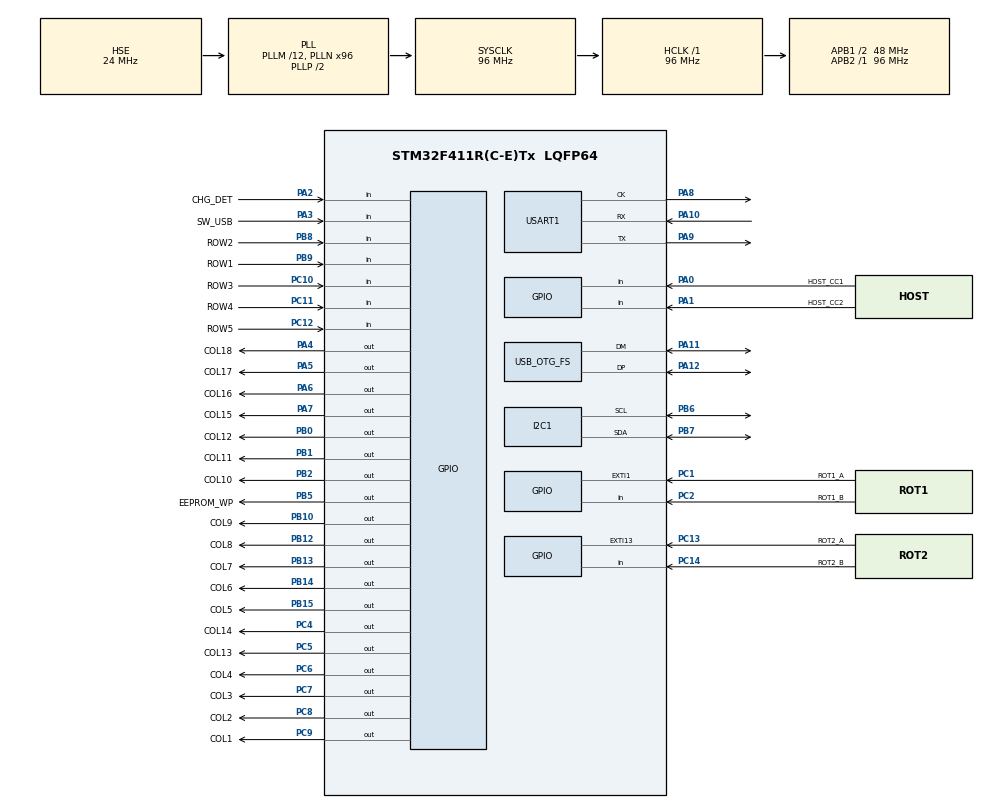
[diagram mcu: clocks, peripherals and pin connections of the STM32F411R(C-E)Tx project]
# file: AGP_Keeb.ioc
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I2C1.I2C_Mode=I2C_Fast
Mcu.Family=STM32F4
Mcu.Name=STM32F411R(C-E)Tx
Mcu.Package=LQFP64
NVIC.EXTI15_10_IRQn=true\:0\:0\:false\:false\:true\:true\:true\:true
NVIC.EXTI1_IRQn=true\:0\:0\:false\:false\:true\:true\:true\:true
NVIC.OTG_FS_IRQn=true\:0\:0\:false\:false\:true\:false\:true\:true
NVIC.PriorityGroup=NVIC_PRIORITYGROUP_4
NVIC.TIM1_UP_TIM10_IRQn=true\:15\:0\:false\:false\:true\:false\:true\:true
NVIC.TimeBase=TIM1_UP_TIM10_IRQn
NVIC.TimeBaseIP=TIM1
PA0-WKUP.GPIO_Label=HOST_CC1
PA0-WKUP.Signal=GPIO_Input
PA1.GPIO_Label=HOST_CC2
PA1.Signal=GPIO_Input
PA10.Mode=Synchronous
PA10.Signal=USART1_RX
PA11.Mode=Device_Only
PA11.Signal=USB_OTG_FS_DM
PA12.Mode=Device_Only
PA12.Signal=USB_OTG_FS_DP
PA13.Mode=JTAG_5_pins
PA13.Signal=SYS_JTMS-SWDIO
PA14.Mode=JTAG_5_pins
PA14.Signal=SYS_JTCK-SWCLK
PA15.Mode=JTAG_5_pins
PA15.Signal=SYS_JTDI
PA2.GPIO_Label=CHG_DET
PA2.Signal=GPIO_Input
PA3.GPIO_Label=SW_USB
PA3.Signal=GPIO_Input
PA4.GPIO_Label=COL18
PA4.Signal=GPIO_Output
PA5.GPIO_Label=COL17
PA5.Signal=GPIO_Output
PA6.GPIO_Label=COL16
PA6.Signal=GPIO_Output
PA7.GPIO_Label=COL15
PA7.Signal=GPIO_Output
PA8.Mode=Synchronous
PA8.Signal=USART1_CK
PA9.Mode=Synchronous
PA9.Signal=USART1_TX
PB0.GPIO_Label=COL12
PB0.Signal=GPIO_Output
PB1.GPIO_Label=COL11
PB1.Signal=GPIO_Output
PB10.GPIO_Label=COL9
PB10.Signal=GPIO_Output
PB12.GPIO_Label=COL8
PB12.Signal=GPIO_Output
PB13.GPIO_Label=COL7
PB13.Signal=GPIO_Output
PB14.GPIO_Label=COL6
PB14.Signal=GPIO_Output
PB15.GPIO_Label=COL5
PB15.Signal=GPIO_Output
PB2.GPIO_Label=COL10
PB2.Signal=GPIO_Output
PB3.Mode=JTAG_5_pins
PB3.Signal=SYS_JTDO-SWO
PB4.Mode=JTAG_5_pins
PB4.Signal=SYS_JTRST
PB5.GPIO_Label=EEPROM_WP
PB5.Signal=GPIO_Output
PB6.Mode=I2C
PB6.Signal=I2C1_SCL
PB7.Mode=I2C
PB7.Signal=I2C1_SDA
PB8.GPIO_Label=ROW2
PB8.GPIO_PuPd=GPIO_PULLDOWN
PB8.Signal=GPIO_Input
PB9.GPIO_Label=ROW1
PB9.GPIO_PuPd=GPIO_PULLDOWN
PB9.Signal=GPIO_Input
PC1.GPIO_Label=ROT1_A
PC1.GPIO_ModeDefaultEXTI=GPIO_MODE_IT_RISING_FALLING
PC1.GPIO_PuPd=GPIO_PULLUP
PC1.Signal=GPXTI1
PC10.GPIO_Label=ROW3
PC10.GPIO_PuPd=GPIO_PULLDOWN
PC10.Signal=GPIO_Input
PC11.GPIO_Label=ROW4
PC11.GPIO_PuPd=GPIO_PULLDOWN
PC11.Signal=GPIO_Input
PC12.GPIO_Label=ROW5
PC12.GPIO_PuPd=GPIO_PULLDOWN
PC12.Signal=GPIO_Input
PC13-ANTI_TAMP.GPIO_Label=ROT2_A
PC13-ANTI_TAMP.GPIO_ModeDefaultEXTI=GPIO_MODE_IT_RISING_FALLING
PC13-ANTI_TAMP.GPIO_PuPd=GPIO_PULLUP
PC13-ANTI_TAMP.Signal=GPXTI13
PC14-OSC32_IN.GPIO_Label=ROT2_B
PC14-OSC32_IN.GPIO_PuPd=GPIO_PULLUP
PC14-OSC32_IN.Signal=GPIO_Input
PC2.GPIO_Label=ROT1_B
PC2.GPIO_PuPd=GPIO_PULLUP
PC2.Signal=GPIO_Input
PC4.GPIO_Label=COL14
PC4.Signal=GPIO_Output
PC5.GPIO_Label=COL13
PC5.Signal=GPIO_Output
PC6.GPIO_Label=COL4
PC6.Signal=GPIO_Output
PC7.GPIO_Label=COL3
PC7.Signal=GPIO_Output
PC8.GPIO_Label=COL2
PC8.Signal=GPIO_Output
PC9.GPIO_Label=COL1
PC9.Signal=GPIO_Output
PH0\ -\ OSC_IN.Mode=HSE-External-Oscillator
PH0\ -\ OSC_IN.Signal=RCC_OSC_IN
PH1\ -\ OSC_OUT.Mode=HSE-External-Oscillator
PH1\ -\ OSC_OUT.Signal=RCC_OSC_OUT
ProjectManager.HeapSize=0x200
ProjectManager.StackSize=0x400
ProjectManager.TargetToolchain=STM32CubeIDE
RCC.48MHZClocksFreq_Value=48000000
RCC.AHBFreq_Value=96000000
RCC.APB1CLKDivider=RCC_HCLK_DIV2
RCC.APB1Freq_Value=48000000
RCC.APB1TimFreq_Value=96000000
RCC.APB2Freq_Value=96000000
RCC.APB2TimFreq_Value=96000000
RCC.CortexFreq_Value=96000000
RCC.HCLKFreq_Value=96000000
RCC.HSE_VALUE=24000000
RCC.HSI_VALUE=16000000
RCC.LSE_VALUE=32768
RCC.PLLI2SR=3
RCC.PLLM=12
RCC.PLLN=96
RCC.RCC_RTC_Clock_Source=RCC_RTCCLKSOURCE_LSI
RCC.RCC_RTC_Clock_SourceVirtual=RCC_RTCCLKSOURCE_LSI
RCC.SYSCLKFreq_VALUE=96000000
RCC.SYSCLKSource=RCC_SYSCLKSOURCE_PLLCLK
RCC.VCOOutputFreq_Value=192000000
USART1.VirtualMode=VM_SYNC
USB_DEVICE.CLASS_NAME_FS=CDC
USB_DEVICE.PRODUCT_STRING_CDC_FS=STM32 Virtual AGPKeeb DebugPort
USB_DEVICE.VirtualMode=Cdc
USB_DEVICE.VirtualModeFS=Cdc_FS
USB_OTG_FS.VirtualMode=Device_Only
VP_SYS_VS_tim1.Mode=TIM1
VP_USB_DEVICE_VS_USB_DEVICE_CDC_FS.Mode=CDC_FS
board=custom

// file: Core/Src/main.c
/* USER CODE BEGIN Header */
/**
  ******************************************************************************
  * @file           : main.c
  * @brief          : Main program body
  ******************************************************************************
  * @attention
  *
  * Copyright (c) 2023 STMicroelectronics.
  * All rights reserved.
  *
  * This software is licensed under terms that can be found in the LICENSE file
  * in the root directory of this software component.
  * If no LICENSE file comes with this software, it is provided AS-IS.
  *
  ******************************************************************************
  */
/* USER CODE END Header */
#include "main.h"
#include "i2c.h"
#include "usart.h"
#include "usb_device.h"
#include "gpio.h"

/* USER CODE BEGIN Includes */
#include "is31fl3741.h"
#include "usbd_cdc_if.h"
#include "string.h"

/* USER CODE END Includes */

/* USER CODE BEGIN PV */
#define BYTE_TO_BINARY_PATTERN "%c%c%c%c%c%c%c%c"
#define BYTE_TO_BINARY(byte)  \
  ((byte) & 0x80 ? '1' : '0'), \
  ((byte) & 0x40 ? '1' : '0'), \
  ((byte) & 0x20 ? '1' : '0'), \
  ((byte) & 0x10 ? '1' : '0'), \
  ((byte) & 0x08 ? '1' : '0'), \
  ((byte) & 0x04 ? '1' : '0'), \
  ((byte) & 0x02 ? '1' : '0'), \
  ((byte) & 0x01 ? '1' : '0')

const uint8_t PWM_Gamma64Length = 64;
const uint8_t PWM_Gamma64[64] =
{
    0x00,0x01,0x02,0x03,0x04,0x05,0x06,0x07,
    0x08,0x09,0x0b,0x0d,0x0f,0x11,0x13,0x16,
    0x1a,0x1c,0x1d,0x1f,0x22,0x25,0x28,0x2e,
    0x34,0x38,0x3c,0x40,0x44,0x48,0x4b,0x4f,
    0x55,0x5a,0x5f,0x64,0x69,0x6d,0x72,0x77,
    0x7d,0x80,0x88,0x8d,0x94,0x9a,0xa0,0xa7,
    0xac,0xb0,0xb9,0xbf,0xc6,0xcb,0xcf,0xd6,
    0xe1,0xe9,0xed,0xf1,0xf6,0xfa,0xfe,0xff
};

const uint16_t ISSI1_LED_REGLength = IS31FL3741_FULL_SIZE;
uint8_t ISSI1_LED_REG[IS31FL3741_FULL_SIZE] = { 0 };

const uint16_t ISSI2_LED_REGLength = IS31FL3741_FULL_SIZE;
uint8_t ISSI2_LED_REG[IS31FL3741_FULL_SIZE] = { 0 };

uint8_t ISSI_DEFAULT_PWM = 0x03;
uint8_t ISSI_DEFAULT_SCALE = 0xA0;

IS31FL3741_LED led;
IS31FL3741_ADDR d1_addr;

int8_t rot1 = 0;
int8_t rot2 = 0;

int8_t active_row = 0;
const uint8_t NUM_OF_ROWS = 5;
uint16_t ROW_PINS[5] = {
    ROW1_Pin,
    ROW2_Pin,
    ROW3_Pin,
    ROW4_Pin,
    ROW5_Pin
};

GPIO_TypeDef *ROW_PORTS[5] = {
    ROW1_GPIO_Port,
    ROW2_GPIO_Port,
    ROW3_GPIO_Port,
    ROW4_GPIO_Port,
    ROW5_GPIO_Port
};

const uint8_t NUM_OF_COLS = 18;
uint16_t COL_PINS[18] = {
    COL1_Pin,
    COL2_Pin,
    COL3_Pin,
    COL4_Pin,
    COL5_Pin,
    COL6_Pin,
    COL7_Pin,
    COL8_Pin,
    COL9_Pin,
    COL10_Pin,
    COL11_Pin,
    COL12_Pin,
    COL13_Pin,
    COL14_Pin,
    COL15_Pin,
    COL16_Pin,
    COL17_Pin,
    COL18_Pin
};

GPIO_TypeDef *COL_PORTS[18] = {
    COL1_GPIO_Port,
    COL2_GPIO_Port,
    COL3_GPIO_Port,
    COL4_GPIO_Port,
    COL5_GPIO_Port,
    COL6_GPIO_Port,
    COL7_GPIO_Port,
    COL8_GPIO_Port,
    COL9_GPIO_Port,
    COL10_GPIO_Port,
    COL11_GPIO_Port,
    COL12_GPIO_Port,
    COL13_GPIO_Port,
    COL14_GPIO_Port,
    COL15_GPIO_Port,
    COL16_GPIO_Port,
    COL17_GPIO_Port,
    COL18_GPIO_Port
};

char keys[5][18] = {
        "E1234567890-=BDFFR",
        "Tqwertyuiop[]BIFFR",
        "Casdfghjkl;'EEFF",
        "Szxcvbnm,./SAFFF",
        "CWASKAWLDRFF"
};

// represents the entire matrix, each row is a single 32bit int each bit represents one col
uint8_t active_keys[5][18] = { 0 };

/* USER CODE END PV */

void SystemClock_Config(void);
/* USER CODE BEGIN PFP */
uint8_t One_By_One_LED_Mode(uint8_t address, char *msgBuffer);

void Scale_ISSI1_LEDs( uint8_t *reg );
void Scale_ISSI2_LEDs( uint8_t *reg );
/* USER CODE END PFP */

/* USER CODE BEGIN 0 */
void HAL_GPIO_EXTI_Callback(uint16_t GPIO_Pin) {
    // double detents per pulse so we need to keep track of raising AND falling edges
    if ( GPIO_Pin == ROT1_A_Pin ) {
        GPIO_PinState A_State = HAL_GPIO_ReadPin(ROT1_A_GPIO_Port, ROT1_A_Pin);
        GPIO_PinState B_State = HAL_GPIO_ReadPin(ROT1_B_GPIO_Port, ROT1_B_Pin);

        if ( A_State == B_State ) {
            rot1--;
        } else {
            rot1++;
        }

        if ( rot1 < 0 ) rot1 = 0;
        else if ( rot1 > 64 ) rot1 = 64;
    } else if ( GPIO_Pin == ROT2_A_Pin ) {
        GPIO_PinState A_State = HAL_GPIO_ReadPin(ROT2_A_GPIO_Port, ROT2_A_Pin);
        GPIO_PinState B_State = HAL_GPIO_ReadPin(ROT2_B_GPIO_Port, ROT2_B_Pin);

        if ( A_State == B_State ) {
            rot2--;
        } else {
            rot2++;
        }

        if ( rot2 < 0 ) rot2 = 0;
        else if ( rot2 > 64 ) rot2 = 64;
    }
}

void Scale_ISSI1_LEDs( uint8_t *reg ){
    uint8_t fullOnRange = (uint8_t) (IS31FL3741_REG_PG0_SIZE + 0x60);
    for ( uint8_t i = 0; i < fullOnRange; i++ ){
        reg[i] = ISSI_DEFAULT_SCALE;
    }

    // except CS25-27, SW2
    // which is 1E offset (SW2) + 24 (0x18)
    uint8_t offset = 0x1E + 0x18;
    reg[ offset ]       = 0x00;
    reg[ offset + 1 ]   = 0x00;
    reg[ offset + 2 ]   = 0x00;

    // add underglow
    uint8_t upperOffset = fullOnRange;
    uint8_t swSteps = 0x09;
    for ( uint8_t i = upperOffset+3; i+2 < IS31FL3741_FULL_SIZE; i += swSteps ) {
        reg[i]   = ISSI_DEFAULT_SCALE;
        reg[i+1] = ISSI_DEFAULT_SCALE;
        reg[i+2] = ISSI_DEFAULT_SCALE;
    }

    // activate window
    // CS31-33 SW3,6,7,8
    // SW3 + 18, SW6 + 0x2D
    reg[ fullOnRange+18 ]    = ISSI_DEFAULT_SCALE;
    reg[ fullOnRange+18+1 ]  = ISSI_DEFAULT_SCALE;
    reg[ fullOnRange+18+2 ]  = ISSI_DEFAULT_SCALE;

    for ( uint8_t i = upperOffset + 0x2D; i + 2 < fullOnRange + 0x48; i += swSteps ) {
        reg[i]   = ISSI_DEFAULT_SCALE;
        reg[i+1] = ISSI_DEFAULT_SCALE;
        reg[i+2] = ISSI_DEFAULT_SCALE;
    }
}

void Scale_ISSI2_LEDs( uint8_t *reg ){
    for ( uint8_t i = 0; i <= 0xB4 + 0x3D; i += 0x1E ) {
        for ( uint8_t j = 0; j < 21; j++ ) {
            reg[ i+j ] = ISSI_DEFAULT_SCALE;
        }
    }

    // except CS19-21, SW2
    // which is 1E offset (SW2) + 18 (0x12)
    reg[ 0x1E + 0x12 ]      = 0x00;
    reg[ 0x1E + 0x12 + 1 ]  = 0x00;
    reg[ 0x1E + 0x12 + 2 ]  = 0x00;

    // CS34-39 SW1-9
    // add underglow
    uint8_t upperOffset = (uint8_t) (IS31FL3741_REG_PG0_SIZE + 0x60);
    uint8_t swSteps = 0x09;
    for ( uint8_t i = upperOffset + 3; i+5 <= IS31FL3741_FULL_SIZE; i += swSteps ) {
        for ( uint8_t j = 0; j < 6; j++ ) {
            reg[i]   = ISSI_DEFAULT_SCALE;
        }
    }
}

uint8_t One_By_One_LED_Mode(uint8_t address, char *msgBuffer) {
    if ( IS31FL3741_SetLED( &led, address ) != HAL_OK ) {
        sprintf(msgBuffer, "Unable to light up LED 0x%02X on page 0x%02X.\r\n", d1_addr.addr, d1_addr.page);
        CDC_Transmit_FS((uint8_t *) msgBuffer, strlen(msgBuffer));
    }

    HAL_Delay(500);

    led.value[0] = 0x00;
    led.value[1] = 0x00;
    led.value[2] = 0x00;

    if ( IS31FL3741_SetLED( &led, address ) != HAL_OK ) {
        sprintf(msgBuffer, "Unable to turn off LED 0x%02X on page 0x%02X.\r\n", d1_addr.addr, d1_addr.page);
        CDC_Transmit_FS((uint8_t *) msgBuffer, strlen(msgBuffer));
    }

    d1_addr.addr = d1_addr.addr + 3;
    if ( d1_addr.page == 0 && d1_addr.addr >= IS31FL3741_REG_PG0_SIZE ) {
        d1_addr.page = 0x01;
        d1_addr.addr = 0x00;
    } else if ( d1_addr.page == 1 && d1_addr.addr >= IS31FL3741_REG_PG1_SIZE ) {
        d1_addr.page = 0x00;
        d1_addr.addr = 0x00;
        if ( address == IS31FL3741_I2C_ADDR_1 )
            address = IS31FL3741_I2C_ADDR_2;
        else
            address = IS31FL3741_I2C_ADDR_1;
    }

    led.value[0] = 0xFF;
    led.value[1] = 0xFF;
    led.value[2] = 0xFF;

    if ( IS31FL3741_SetLED( &led, address ) != HAL_OK ) {
        sprintf(msgBuffer, "Unable to light up LED 0x%02X on page 0x%02X.\r\n", d1_addr.addr, d1_addr.page);
        CDC_Transmit_FS((uint8_t *) msgBuffer, strlen(msgBuffer));
    }

    return address;
}

/* USER CODE END 0 */

int main(void)
{

  /* MCU Configuration--------------------------------------------------------*/

  /* Reset of all peripherals, Initializes the Flash interface and the Systick. */
  HAL_Init();

  /* Configure the system clock */
  SystemClock_Config();

  /* Initialize all configured peripherals */
  MX_GPIO_Init();
  MX_I2C1_Init();
  MX_USART1_Init();
  MX_USB_DEVICE_Init();
  /* USER CODE BEGIN 2 */

  led.i2cHandle = &hi2c1;
  led.setting = PWM;
  led.addr = &d1_addr;
  led.value[0] = 0xFF;
  led.value[1] = 0xFF;
  led.value[2] = 0xFF;

  d1_addr.page = 0x00;
  d1_addr.addr = 0x00;

    HAL_Delay(5000);
    char msgBuffer[256];
    uint8_t id[3];

    // testing ISSI-1 by reading its I2C address from memory
    if( IS31FL3741_ReadID( &hi2c1, IS31FL3741_I2C_ADDR_1, id ) != HAL_OK ) {
        sprintf(msgBuffer, "Error during transmitting I2C data to ISSI-1\r\n");
    } else if ( id[0] != IS31FL3741_I2C_ADDR_1 ) {
        sprintf(msgBuffer, "ISSI-1 responded with wrong ID: 0x%02X; expected: 0x%02X\r\n", id[0], IS31FL3741_I2C_ADDR_1);
    } else {
        sprintf(msgBuffer, "ISSI-1 address check successful\r\n");
    }

    CDC_Transmit_FS((uint8_t *) msgBuffer, strlen(msgBuffer));
    HAL_Delay(500);

    // testing ISSI-2 by reading its I2C address from memory
    if( IS31FL3741_ReadID( &hi2c1, IS31FL3741_I2C_ADDR_2, id ) != HAL_OK ) {
        sprintf(msgBuffer, "Error during transmitting I2C data to ISSI-2\r\n");
    } else if ( id[0] != IS31FL3741_I2C_ADDR_2 ) {
        sprintf(msgBuffer, "ISSI-2 responded with wrong ID: 0x%02X; expected: 0x%02X\r\n", id[0], IS31FL3741_I2C_ADDR_2);
    } else {
        sprintf(msgBuffer, "ISSI-2 address check successful\r\n");
    }

    CDC_Transmit_FS((uint8_t *) msgBuffer, strlen(msgBuffer));
    HAL_Delay(500);

    sprintf(msgBuffer, "Init LED registers\r\n");
    CDC_Transmit_FS((uint8_t *) msgBuffer, strlen(msgBuffer));

//    Scale_ISSI1_LEDs( ISSI1_LED_REG );

    for ( uint16_t i = 0; i < IS31FL3741_FULL_SIZE; i++ ){
        ISSI1_LED_REG[i] = 0xFF;
    }

    for ( uint16_t i = 0; i < IS31FL3741_FULL_SIZE; i++ ){
        ISSI2_LED_REG[i] = 0xFF;
    }

//    Scale_ISSI2_LEDs( ISSI2_LED_REG );
    HAL_Delay(500);

    sprintf(msgBuffer, "Finish setting scale values.\r\n");
    CDC_Transmit_FS((uint8_t *) msgBuffer, strlen(msgBuffer));

    HAL_Delay(500);
    sprintf(msgBuffer, "Init ISSI 1.\r\n");
    CDC_Transmit_FS((uint8_t *) msgBuffer, strlen(msgBuffer));

    IS31FL3741_Init( &hi2c1, IS31FL3741_I2C_ADDR_1, ISSI1_LED_REG, ISSI1_LED_REGLength, &ISSI_DEFAULT_PWM );

    HAL_Delay(500);
    sprintf(msgBuffer, "Init ISSI 2.\r\n");
    CDC_Transmit_FS((uint8_t *) msgBuffer, strlen(msgBuffer));

    IS31FL3741_Init( &hi2c1, IS31FL3741_I2C_ADDR_2, ISSI2_LED_REG, ISSI2_LED_REGLength, &ISSI_DEFAULT_PWM );
//
//    HAL_Delay(2000);
//    sprintf(msgBuffer, "Init ISSI 2 (init).\r\n");
//    CDC_Transmit_FS((uint8_t *) msgBuffer, strlen(msgBuffer));
//    IS31FL3741_Init( &hi2c1, IS31FL3741_I2C_ADDR_2, ISSI2_LED_REG, ISSI2_LED_REGLength, &ISSI_DEFAULT_PWM );
//
//    sprintf(msgBuffer, "All setup done. Try lighting up a single LED. Confirm values are 0.\r\n");
//    CDC_Transmit_FS((uint8_t *) msgBuffer, strlen(msgBuffer));

    // ==================================== CHECK CAPSLOCK VALUES =================================
//    d1_addr.page = 0x00;
//    d1_addr.addr = 0x78; // CS1, SW5 (capslock blue)
//
//    IS31FL3741_Unlock( &hi2c1, IS31FL3741_I2C_ADDR_1 );
//    IS31FL3741_OpenPage(&hi2c1, d1_addr.page, IS31FL3741_I2C_ADDR_1 );
//    if ( HAL_I2C_Mem_Read(&hi2c1, IS31FL3741_I2C_ADDR_1, d1_addr.addr, I2C_MEMADD_SIZE_8BIT, id, I2C_MEMADD_SIZE_8BIT*3, IS31FL3741_I2C_TIMEOUT) != HAL_OK ){
//        sprintf(msgBuffer, "Unable to read PWM LED CapsLock values.\r\n");
//        CDC_Transmit_FS((uint8_t *) msgBuffer, strlen(msgBuffer));
//    } else {
//        sprintf(msgBuffer, "CapsLock LED PWM is set: 0x%02X, 0x%02X, 0x%02X\r\n", id[0], id[1], id[2]);
//        CDC_Transmit_FS((uint8_t *) msgBuffer, strlen(msgBuffer));
//    }
//
//    d1_addr.page = 0x02;
//    IS31FL3741_Unlock( &hi2c1, IS31FL3741_I2C_ADDR_1 );
//    IS31FL3741_OpenPage(&hi2c1, d1_addr.page, IS31FL3741_I2C_ADDR_1 );
//    if ( HAL_I2C_Mem_Read(&hi2c1, IS31FL3741_I2C_ADDR_1, d1_addr.addr, I2C_MEMADD_SIZE_8BIT, id, I2C_MEMADD_SIZE_8BIT*3, IS31FL3741_I2C_TIMEOUT) != HAL_OK ){
//        sprintf(msgBuffer, "Unable to read SCALE LED CapsLock values.\r\n");
//        CDC_Transmit_FS((uint8_t *) msgBuffer, strlen(msgBuffer));
//    } else {
//        sprintf(msgBuffer, "CapsLock LED SCALE is set: 0x%02X, 0x%02X, 0x%02X\r\n", id[0], id[1], id[2]);
//        CDC_Transmit_FS((uint8_t *) msgBuffer, strlen(msgBuffer));
//    }
//
//    HAL_Delay(500);
//    sprintf(msgBuffer, "Expected Scale Values: 0x%02X, 0x%02X, 0x%02X\r\n", ISSI1_LED_REG[d1_addr.addr], ISSI1_LED_REG[d1_addr.addr+1], ISSI1_LED_REG[d1_addr.addr+2]);
//    CDC_Transmit_FS((uint8_t *) msgBuffer, strlen(msgBuffer));
    // ==================================== CHECK CAPSLOCK VALUES =================================

//
//    IS31FL3741_OpenPage(&hi2c1, 0x02, IS31FL3741_I2C_ADDR_1 );
//    if ( HAL_I2C_Mem_Read(&hi2c1, IS31FL3741_I2C_ADDR_1, 0x02, I2C_MEMADD_SIZE_8BIT, &id[0], I2C_MEMADD_SIZE_8BIT, IS31FL3741_I2C_TIMEOUT) != HAL_OK ){
//        sprintf(msgBuffer, "Unable to read SCALE LED 0 values.\r\n");
//        CDC_Transmit_FS((uint8_t *) msgBuffer, strlen(msgBuffer));
//    } else {
//        sprintf(msgBuffer, "LED 1 SCALE is set: 0x%02X\r\n", id[0]);
//        CDC_Transmit_FS((uint8_t *) msgBuffer, strlen(msgBuffer));
//    }
//
//    sprintf(msgBuffer, "Start lighting up LEDs one by one (complete white)\r\n");
//    CDC_Transmit_FS((uint8_t *) msgBuffer, strlen(msgBuffer));
//

  /* USER CODE END 2 */

  /* Infinite loop */
  /* USER CODE BEGIN WHILE */

    char buffer[NUM_OF_ROWS][NUM_OF_COLS+1];

    for ( uint8_t i = 0; i < NUM_OF_ROWS; i++ ){
        buffer[i][NUM_OF_COLS] = '\0';
    }

    while (1)
    {
        // ================================ ACTIVATE ROWS =============================
        // pull row high

        for ( uint8_t col = 0; col < NUM_OF_COLS; col++ ) {
            HAL_GPIO_WritePin(COL_PORTS[col], COL_PINS[col], GPIO_PIN_SET);

            for ( uint8_t row = 0; row < NUM_OF_ROWS; row++ ) {
                active_keys[row][col] = HAL_GPIO_ReadPin(ROW_PORTS[row], ROW_PINS[row]);
                if ( active_keys[row][col] )
                    buffer[row][col] = keys[row][col];
                else buffer[row][col] = ' ';
            }

            HAL_GPIO_WritePin(COL_PORTS[col], COL_PINS[col], GPIO_PIN_RESET);
            HAL_Delay(10);
        }

//        for ( uint8_t row = 0; row < NUM_OF_ROWS; row++ ) {
//            snprintf(intBuffer, 20, "%d", (int) active_keys[row]);
//        }

        sprintf(msgBuffer, "Keyboard Matrix:\r\n%19s | %d\r\n%19s | %d\r\n%19s\r\n%19s\r\n%19s\r\n\r\n",
                buffer[0], rot1,
                buffer[1], rot2,
                buffer[2],
                buffer[3],
                buffer[4]);
        CDC_Transmit_FS((uint8_t *) msgBuffer, strlen(msgBuffer));

//        if ( active_row == 0 ) {
//            sprintf(msgBuffer, "Keyboard Matrix:\r\n"BYTE_TO_BINARY_PATTERN" "BYTE_TO_BINARY_PATTERN" "BYTE_TO_BINARY_PATTERN" "BYTE_TO_BINARY_PATTERN" | %02d\r\n"BYTE_TO_BINARY_PATTERN" "BYTE_TO_BINARY_PATTERN" "BYTE_TO_BINARY_PATTERN" "BYTE_TO_BINARY_PATTERN" | %02d\r\n"BYTE_TO_BINARY_PATTERN" "BYTE_TO_BINARY_PATTERN" "BYTE_TO_BINARY_PATTERN" "BYTE_TO_BINARY_PATTERN"\r\n"BYTE_TO_BINARY_PATTERN" "BYTE_TO_BINARY_PATTERN" "BYTE_TO_BINARY_PATTERN" "BYTE_TO_BINARY_PATTERN"\r\n"BYTE_TO_BINARY_PATTERN" "BYTE_TO_BINARY_PATTERN" "BYTE_TO_BINARY_PATTERN" "BYTE_TO_BINARY_PATTERN"\r\n\r\n",
//                    BYTE_TO_BINARY(active_cols[0]>>24), BYTE_TO_BINARY(active_cols[0]>>16), BYTE_TO_BINARY(active_cols[0]>>8), BYTE_TO_BINARY(active_cols[0]), rot1,
//                    BYTE_TO_BINARY(active_cols[1]>>24), BYTE_TO_BINARY(active_cols[1]>>16), BYTE_TO_BINARY(active_cols[1]>>8), BYTE_TO_BINARY(active_cols[1]), rot2,
//                    BYTE_TO_BINARY(active_cols[2]>>24), BYTE_TO_BINARY(active_cols[2]>>16), BYTE_TO_BINARY(active_cols[2]>>8), BYTE_TO_BINARY(active_cols[2]),
//                    BYTE_TO_BINARY(active_cols[3]>>24), BYTE_TO_BINARY(active_cols[3]>>16), BYTE_TO_BINARY(active_cols[3]>>8), BYTE_TO_BINARY(active_cols[3]),
//                    BYTE_TO_BINARY(active_cols[4]>>24), BYTE_TO_BINARY(active_cols[4]>>16), BYTE_TO_BINARY(active_cols[4]>>8), BYTE_TO_BINARY(active_cols[4])
//                    );
//            CDC_Transmit_FS((uint8_t *) msgBuffer, strlen(msgBuffer));
//        }

//        address = One_By_One_LED_Mode(address, msgBuffer);
//
//        sprintf(msgBuffer, "Light LED 0x%02X on page 0x%02X (ISSI: 0x%02X).\r\n", d1_addr.addr, d1_addr.page, address);
//        CDC_Transmit_FS((uint8_t *) msgBuffer, strlen(msgBuffer));

//        sprintf(msgBuffer, "Idle.\r\n");
//        CDC_Transmit_FS((uint8_t *) msgBuffer, strlen(msgBuffer));

        // ================================== ENCODER HARDCODED =================================
//        if ( HAL_GPIO_ReadPin(ROT1_A_GPIO_Port, ROT1_A_Pin) == GPIO_PIN_RESET ) {
//            // means A was pulled low
//            if ( HAL_GPIO_ReadPin(ROT1_B_GPIO_Port, ROT1_B_Pin) == GPIO_PIN_RESET ) {
//                // B is already pulled low, so B was pulled before A, hence CCW
//                while ( HAL_GPIO_ReadPin(ROT1_B_GPIO_Port, ROT1_B_Pin) == GPIO_PIN_RESET ) {}
//                counter--;
//                while ( HAL_GPIO_ReadPin(ROT1_A_GPIO_Port, ROT1_A_Pin) == GPIO_PIN_RESET ) {}
//                HAL_Delay(10);
//            } else {
//                // means A is low but B is still low. Hence, CW, wait for B to be pulled LOW too
//                while ( HAL_GPIO_ReadPin(ROT1_B_GPIO_Port, ROT1_B_Pin) == GPIO_PIN_SET ) {}
//                // now we are essentially in the top case and wait for A to be pulled high again
//
//                counter++;
//                while ( HAL_GPIO_ReadPin(ROT1_A_GPIO_Port, ROT1_A_Pin) == GPIO_PIN_RESET ) {}
//                // and lastly B being back to normal too
//                while ( HAL_GPIO_ReadPin(ROT1_B_GPIO_Port, ROT1_B_Pin) == GPIO_PIN_RESET ) {}
//                HAL_Delay(10);
//            }
//
//
//
//            // some normalization so we dont get out of bounds
//            if ( counter < 0  ) counter = 0;
//            if ( counter > 64 ) counter = 64;
//
//        }

        // ===================== FIND ISSUE OF NOT WORKING I2C ================================
        for ( uint16_t i = 0; i < IS31FL3741_FULL_SIZE; i++ ){
            ISSI1_LED_REG[i] = PWM_Gamma64[rot1];
        }

        IS31FL3741_WriteAllLEDs( &hi2c1, IS31FL3741_I2C_ADDR_1, ISSI1_LED_REG );
        IS31FL3741_WriteAllLEDs( &hi2c1, IS31FL3741_I2C_ADDR_2, ISSI1_LED_REG );

//        sprintf(msgBuffer, "Counter %02d LEDs PWM to 0x%02X.\r\n", rot1, PWM_Gamma64[rot1]);
//        CDC_Transmit_FS((uint8_t *) msgBuffer, strlen(msgBuffer));

//        HAL_Delay(500);
    /* USER CODE END WHILE */

    }
}

void SystemClock_Config(void)
{
  RCC_OscInitTypeDef RCC_OscInitStruct = {0};
  RCC_ClkInitTypeDef RCC_ClkInitStruct = {0};

  /** Configure the main internal regulator output voltage
  */
  __HAL_RCC_PWR_CLK_ENABLE();
  __HAL_PWR_VOLTAGESCALING_CONFIG(PWR_REGULATOR_VOLTAGE_SCALE1);

  /** Initializes the RCC Oscillators according to the specified parameters
  * in the RCC_OscInitTypeDef structure.
  */
  RCC_OscInitStruct.OscillatorType = RCC_OSCILLATORTYPE_HSE;
  RCC_OscInitStruct.HSEState = RCC_HSE_ON;
  RCC_OscInitStruct.PLL.PLLState = RCC_PLL_ON;
  RCC_OscInitStruct.PLL.PLLSource = RCC_PLLSOURCE_HSE;
  RCC_OscInitStruct.PLL.PLLM = 12;
  RCC_OscInitStruct.PLL.PLLN = 96;
  RCC_OscInitStruct.PLL.PLLP = RCC_PLLP_DIV2;
  RCC_OscInitStruct.PLL.PLLQ = 4;
  if (HAL_RCC_OscConfig(&RCC_OscInitStruct) != HAL_OK)
  {
    Error_Handler();
  }

  /** Initializes the CPU, AHB and APB buses clocks
  */
  RCC_ClkInitStruct.ClockType = RCC_CLOCKTYPE_HCLK|RCC_CLOCKTYPE_SYSCLK
                              |RCC_CLOCKTYPE_PCLK1|RCC_CLOCKTYPE_PCLK2;
  RCC_ClkInitStruct.SYSCLKSource = RCC_SYSCLKSOURCE_PLLCLK;
  RCC_ClkInitStruct.AHBCLKDivider = RCC_SYSCLK_DIV1;
  RCC_ClkInitStruct.APB1CLKDivider = RCC_HCLK_DIV2;
  RCC_ClkInitStruct.APB2CLKDivider = RCC_HCLK_DIV1;

  if (HAL_RCC_ClockConfig(&RCC_ClkInitStruct, FLASH_LATENCY_3) != HAL_OK)
  {
    Error_Handler();
  }
}

void HAL_TIM_PeriodElapsedCallback(TIM_HandleTypeDef *htim)
{
  if (htim->Instance == TIM1) {
    HAL_IncTick();
  }
}

void Error_Handler(void)
{
  __disable_irq();
  while (1)
  {
  }
}
